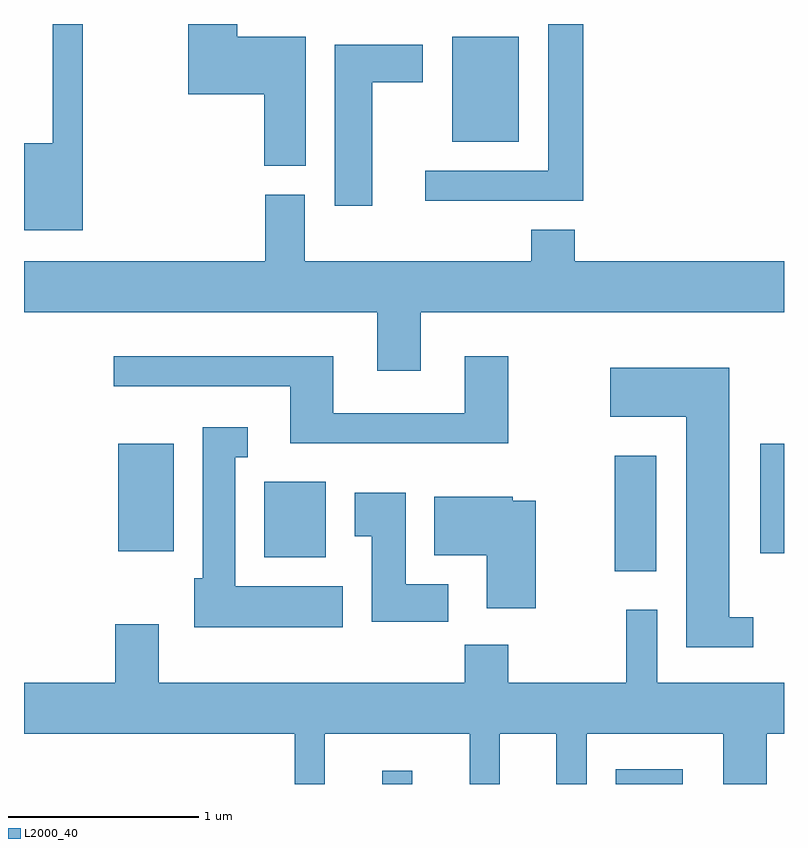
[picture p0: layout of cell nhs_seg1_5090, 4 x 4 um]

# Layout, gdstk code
import gdstk
lib = gdstk.Library(unit=1e-6, precision=1e-09)
def R(c, l, rs):  # rectangles x0, y0, x1, y1
    for r in rs: c.add(gdstk.rectangle(r[:2], r[2:], *l))
def P(c, l, *ps):  # polygons
    for p in ps: c.add(gdstk.Polygon(p, *l))
L2000_40 = (2000, 40)

nhs_seg1_5090 = lib.new_cell('nhs_seg1_5090')
R(nhs_seg1_5090, L2000_40, [(339.496,943.712,339.654,943.783), (340.726,943.712,341.078,943.789), (340.721,944.831,340.939,945.439), (338.876,944.906,339.199,945.304), (341.486,944.926,341.611,945.503), (338.106,944.936,338.399,945.504), (339.866,947.091,340.214,947.644)])
P(nhs_seg1_5090, L2000_40, [(337.919,947.712),(337.761,947.712),(337.761,947.084),(337.611,947.084),(337.611,946.626),(337.919,946.626)],
  [(339.094,947.644),(338.734,947.644),(338.734,947.712),(338.476,947.712),(338.476,947.341),(338.876,947.341),(338.876,946.966),(339.094,946.966)],
  [(340.554,947.712),(340.371,947.712),(340.371,946.939),(339.723,946.939),(339.723,946.781),(340.554,946.781)],
  [(339.444,947.406),(339.709,947.406),(339.709,947.604),(339.246,947.604),(339.246,946.756),(339.444,946.756)],
  [(339.699,946.196),(341.611,946.196),(341.611,946.464),(340.509,946.464),(340.509,946.629),(340.281,946.629),(340.281,946.464),(339.089,946.464),(339.089,946.814),(338.881,946.814),(338.881,946.464),(337.611,946.464),(337.611,946.196),(339.471,946.196),(339.471,945.886),(339.699,945.886)],
  [(340.159,945.964),(339.931,945.964),(339.931,945.664),(339.239,945.664),(339.239,945.964),(338.083,945.964),(338.083,945.806),(339.011,945.806),(339.011,945.506),(340.159,945.506)],
  [(341.448,944.589),(341.324,944.589),(341.324,945.904),(340.696,945.904),(340.696,945.646),(341.096,945.646),(341.096,944.431),(341.448,944.431)],
  [(339.289,944.754),(338.724,944.754),(338.724,945.431),(338.788,945.431),(338.788,945.589),(338.551,945.589),(338.551,944.794),(338.506,944.794),(338.506,944.536),(339.289,944.536)],
  [(339.844,944.764),(339.619,944.764),(339.619,945.244),(339.351,945.244),(339.351,945.016),(339.441,945.016),(339.441,944.566),(339.844,944.566)],
  [(340.304,945.204),(340.184,945.204),(340.184,945.224),(339.771,945.224),(339.771,944.916),(340.046,944.916),(340.046,944.636),(340.304,944.636)],
  [(339.931,944.244),(338.319,944.244),(338.319,944.554),(338.091,944.554),(338.091,944.244),(337.611,944.244),(337.611,943.976),(339.036,943.976),(339.036,943.712),(339.194,943.712),(339.194,943.976),(339.956,943.976),(339.956,943.712),(340.114,943.712),(340.114,943.976),(340.411,943.976),(340.411,943.712),(340.574,943.712),(340.574,943.976),(341.291,943.976),(341.291,943.712),(341.519,943.712),(341.519,943.976),(341.611,943.976),(341.611,944.244),(340.944,944.244),(340.944,944.628),(340.781,944.628),(340.781,944.244),(340.159,944.244),(340.159,944.444),(339.931,944.444)])

lib.write_gds('nhs_seg1_5090.gds')
